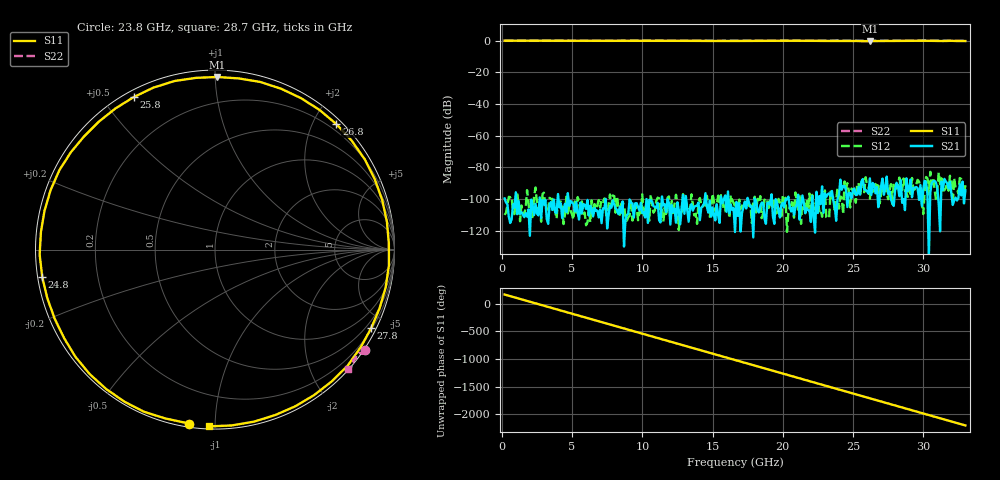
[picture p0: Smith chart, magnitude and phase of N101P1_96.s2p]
# GHZ S RI R 50
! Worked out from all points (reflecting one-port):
!   329 points, 200 MHz to 33 GHz, reference 50 ohm
!   lowest |S11| = -0.3 dB at 26.2 GHz (marker M1), VSWR 51.24, Z = 1.98 + j50.7 ohm
!   phase of S11 starts at 165 deg and turns -2369 deg over the sweep
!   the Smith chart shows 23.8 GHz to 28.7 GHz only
!   S11 on the Smith chart (normalised r, x): 23.8 GHz: 0.02, -0.86; 24.8 GHz: 0.01, -0.08; 25.8 GHz: 0.03, +0.60; 26.8 GHz: 0.09, +2.36; 27.8 GHz: 0.24, -4.19; 28.7 GHz: 0.01, -0.97
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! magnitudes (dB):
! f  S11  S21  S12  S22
! 200 MHz  0.0  -99.7  -110.2  0.0
! 5.7 GHz  -0.1  -109.2  -101.6  -0.1
! 11.2 GHz  -0.1  -113.6  -99.7  0.0
! 16.6 GHz  -0.2  -121.0  -105.0  -0.1
! 19.2 GHz  0.0  -97.1  -103.8  0.0
! 22.1 GHz  -0.1  -98.1  -97.5  0.0
! 22.6 GHz  -0.2  -98.2  -107.8  -0.1
! 23 GHz  -0.1  -96.6  -94.7  0.0
! 23.4 GHz  -0.2  -98.1  -95.5  -0.1
! 23.8 GHz  -0.2  -113.9  -100.9  0.1
! 24.8 GHz  -0.2  -96.3  -105.5  -0.1
! 25.8 GHz  -0.3  -94.1  -95.8  -0.1
! 26.2 GHz  -0.3  -87.0  -99.9  -0.1
! 26.8 GHz  -0.2  -105.3  -89.8  -0.1
! 27.6 GHz  -0.2  -95.2  -94.9  0.0
! 27.8 GHz  -0.2  -102.7  -103.3  0.0
! 28.7 GHz  -0.1  -107.1  -95.0  0.0
! 30.3 GHz  -0.1  -97.3  -86.9  0.1
! 31.4 GHz  -0.3  -94.3  -94.7  -0.1
! 32 GHz  -0.1  -96.5  -88.3  0.0
! 32.6 GHz  -0.2  -90.7  -86.8  -0.2
! 33 GHz  -0.3  -94.6  -91.4  -0.1
